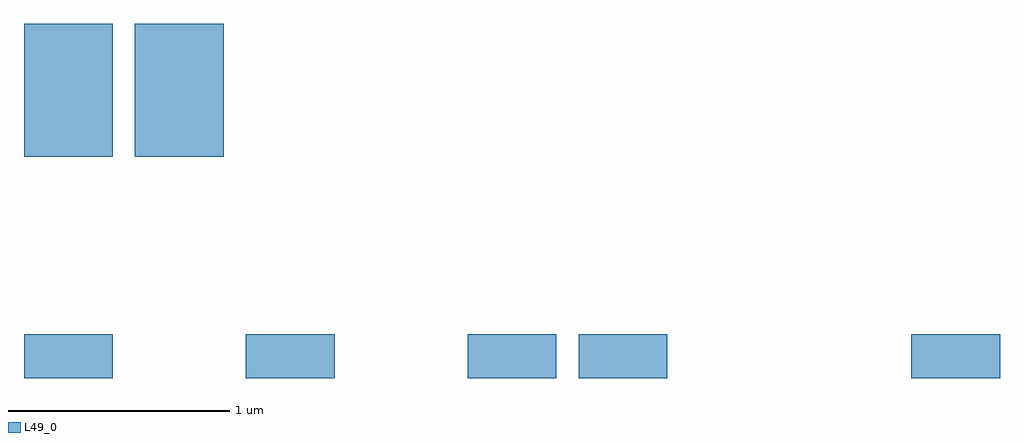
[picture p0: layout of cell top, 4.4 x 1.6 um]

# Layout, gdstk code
import gdstk
lib = gdstk.Library(unit=1e-6, precision=1e-09)
def R(c, l, rs):  # rectangles x0, y0, x1, y1
    for r in rs: c.add(gdstk.rectangle(r[:2], r[2:], *l))
L49_0 = (49, 0)

c_c = lib.new_cell('c')
R(c_c, L49_0, [(0,0,0.4,0.2)])

top = lib.new_cell('top')
top.add(gdstk.Reference(c_c, (0,0)))
top.add(gdstk.Reference(c_c, (1,0)))
r = gdstk.Reference(c_c, (0,1)); r.repetition = gdstk.Repetition(2, 3, v1=(0.5,0), v2=(0,0.2)); top.add(r)
r = gdstk.Reference(c_c, (2,0)); r.repetition = gdstk.Repetition(2, 1, v1=(0.5,0), v2=(0,0.2)); top.add(r)
top.add(gdstk.Reference(c_c, (4,0)))

lib.write_gds('top.gds')
